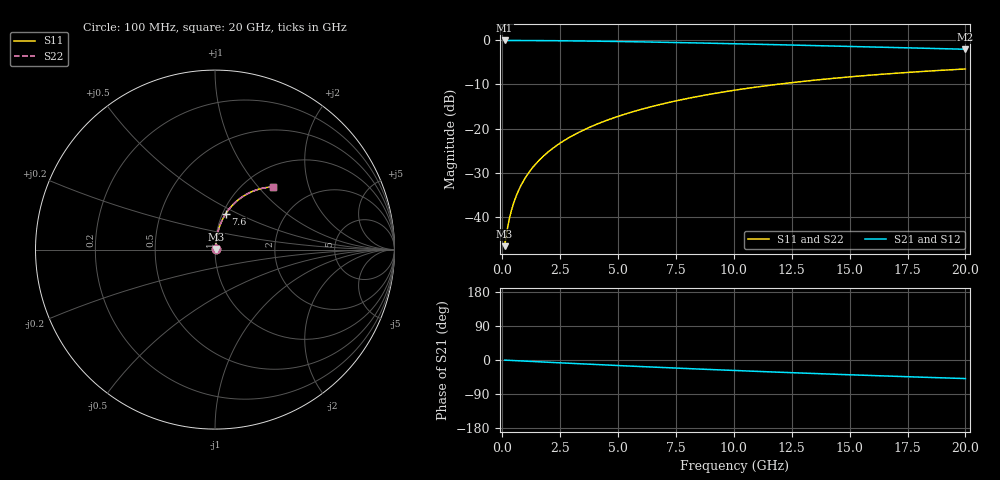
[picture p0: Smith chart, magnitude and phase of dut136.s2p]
! Touchstone file exported from HFSS 2024.1.0
!  File:  C:/UserFiles/LocalFiles/RDL_TSV_Batchsim/temp_RDL_top_136_1778684576.aedt
!  Generated:  11:05:20 PM May 13, 2026
!  Design:  RDL_top
!  Project:  temp_RDL_top_136_1778684576
!  Setup:  Setup1
!  Solution:  Sweep
! Variables:
!  dtsv = 10.80580581um
!  hbump = 3um
!  htsv = 93.38um
!  ldown = 100um
!  lrdl = 646.5um
!  p = 40
!  p1 = 59.2um
!  rhole = 1um
!  t = 450um
!  tdown = 3.915915916um
!  trdl = 3.42um
!  wdown = 15.38538539um
!  wrdl = 19.06um
# GHz S MA R 50.000000
! Terminal data exported
! Port[1] = Box2_T1
! Port[2] = Box2_T2
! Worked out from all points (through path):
!   200 points, 100 MHz to 20 GHz, reference 50 ohm
!   highest |S21| = -0.03 dB at 100 MHz (marker M1); lowest = -2.0 dB at 20 GHz (marker M2)
!   group delay of S21, straight-line fit = 6.78 ps
!   lowest |S11| = -46.6 dB at 100 MHz (marker M3), VSWR 1.01, Z = 50.4 + j0.293 ohm
!   |S11| at or under -10 dB: start of sweep to 11.82 GHz
!   |S22| runs from -46.6 to -6.5 dB; largest |S21 - S12| = 4.4e-14
!   S11 on the Smith chart (normalised r, x): 100 MHz: 1.01, +0.01; 7.6 GHz: 1.04, +0.43; 20 GHz: 1.33, +1.20
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0.1  0.004681 38.5  0.9963 -0.3  0.9963 -0.3  0.004681 38.5
! Gamma 0 0 0 0
! Port Impedance 50 0 50 0
0.2  0.006911 56.6  0.9962 -0.6  0.9962 -0.6  0.006911 56.6
0.3  0.009438 65.0  0.996 -0.9  0.996 -0.9  0.009438 65.0
0.4  0.01204 69.8  0.9958 -1.2  0.9958 -1.2  0.01204 69.8
0.5  0.01466 72.8  0.9956 -1.5  0.9956 -1.5  0.01466 72.8
0.6  0.01729 74.9  0.9954 -1.8  0.9954 -1.8  0.01729 74.9
0.8  0.0226 77.6  0.995 -2.4  0.995 -2.4  0.0226 77.6
1.1  0.03063 79.8  0.9942 -3.3  0.9942 -3.3  0.03063 79.8
1.5  0.04144 81.2  0.993 -4.5  0.993 -4.5  0.04144 81.2
1.8  0.04959 81.6  0.9919 -5.4  0.9919 -5.4  0.04959 81.6
2.1  0.05778 81.8  0.9906 -6.3  0.9906 -6.3  0.05778 81.8
2.7  0.07423 81.6  0.9875 -8.1  0.9875 -8.1  0.07423 81.6
3.5  0.09629 80.8  0.9823 -10.4  0.9823 -10.4  0.0963 80.8
4.2  0.1157 79.8  0.977 -12.4  0.977 -12.4  0.1157 79.8
5  0.1379 78.5  0.9701 -14.6  0.9701 -14.6  0.1379 78.5
5.9  0.1627 76.8  0.9615 -17.1  0.9615 -17.1  0.1628 76.8
6.8  0.1874 75.0  0.9521 -19.5  0.9521 -19.5  0.1875 75.0
7.6  0.2091 73.3  0.9433 -21.6  0.9433 -21.6  0.2091 73.3
10.1  0.2743 67.8  0.9139 -27.9  0.9139 -27.9  0.2744 67.8
13.4  0.3521 60.6  0.8729 -35.5  0.8729 -35.5  0.3522 60.6
16.7  0.4187 53.7  0.8318 -42.5  0.8318 -42.5  0.4188 53.8
20  0.474 47.4  0.7923 -49.0  0.7923 -49.0  0.4742 47.4
